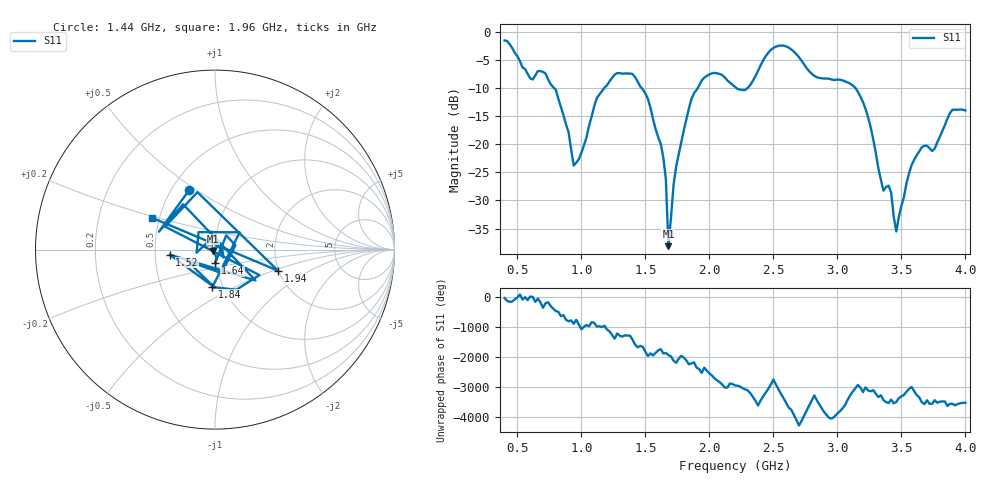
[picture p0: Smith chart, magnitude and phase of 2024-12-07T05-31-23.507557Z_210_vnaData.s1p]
!Created with skrf (http://scikit-rf.org).
# Hz S RI R 50.0
!freq ReS11 ImS11
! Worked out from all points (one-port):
!   181 points, 400 MHz to 4 GHz, reference 50 ohm
!   lowest |S11| = -38.1 dB at 1.68 GHz (marker M1), VSWR 1.03, Z = 49 - j0.705 ohm
!   |S11| at or under -10 dB: 787.9 MHz to 1.177 GHz (389.1 MHz wide, 39.6 % of centre); 1.472 GHz to 1.907 GHz (435.5 MHz wide, 25.8 % of centre); 3.142 GHz to end of sweep (the widest 3 of 4)
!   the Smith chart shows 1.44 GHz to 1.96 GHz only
!   S11 on the Smith chart (normalised r, x): 1.44 GHz: 0.61, +0.47; 1.52 GHz: 0.60, -0.04; 1.64 GHz: 0.99, -0.15; 1.84 GHz: 0.89, -0.39; 1.94 GHz: 1.98, -0.54; 1.96 GHz: 0.46, +0.19
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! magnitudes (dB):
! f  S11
! 400 MHz  -1.5
! 600 MHz  -8.3
! 720 MHz  -7.4
! 860 MHz  -14.8
! 940 MHz  -23.8
! 1.12 GHz  -11.8
! 1.3 GHz  -7.3
! 1.44 GHz  -8.8
! 1.52 GHz  -11.9
! 1.64 GHz  -22.4
! 1.66 GHz  -26.2
! 1.68 GHz  -38.1
! 1.72 GHz  -27.3
! 1.76 GHz  -21.8
! 1.84 GHz  -13.6
! 1.94 GHz  -8.6
! 1.96 GHz  -8.1
! 2.2 GHz  -9.8
! 2.5 GHz  -2.8
! 2.66 GHz  -3.5
! 3.1 GHz  -9.2
! 3.22 GHz  -13.7
! 3.36 GHz  -28.3
! 3.42 GHz  -28.6
! 3.46 GHz  -35.5
! 3.56 GHz  -25.1
! 3.9 GHz  -13.8
! 4 GHz  -13.9
